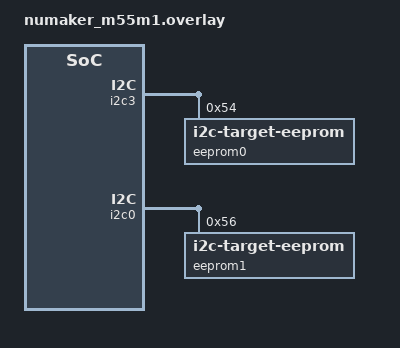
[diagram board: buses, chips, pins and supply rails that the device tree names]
/* SPDX-License-Identifier: Apache-2.0 */

&pinctrl {
	i2c3_default: i2c3_default {
		group0 {
			pinmux = <PG1MFP_I2C3_SDA>, /* UNO D14 */
				 <PG0MFP_I2C3_SCL>; /* UNO D15 */
		};
	};

	i2c0_default: i2c0_default {
		group0 {
			pinmux = <PH3MFP_I2C0_SDA>, /* PIN 46 */
				 <PH2MFP_I2C0_SCL>; /* PIN 45 */
		};
	};
};

&i2c3 {
	pinctrl-0 = <&i2c3_default>;
	pinctrl-names = "default";
	status = "okay";

	eeprom0: eeprom@54 {
		compatible = "zephyr,i2c-target-eeprom";
		reg = <0x54>;
		address-width = <16>;
		size = <1024>;
	};
};

&i2c0 {
	pinctrl-0 = <&i2c0_default>;
	pinctrl-names = "default";
	status = "okay";

	eeprom1: eeprom@56 {
		compatible = "zephyr,i2c-target-eeprom";
		reg = <0x56>;
		address-width = <16>;
		size = <1024>;
	};
};
